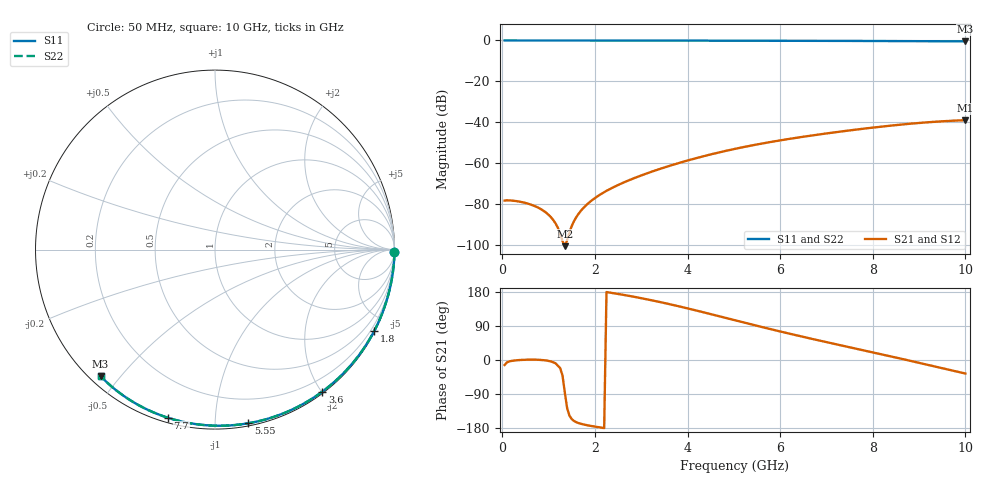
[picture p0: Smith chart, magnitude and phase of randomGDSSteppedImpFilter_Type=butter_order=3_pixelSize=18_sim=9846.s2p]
! freq	dB(S11)	phase(S11)	dB(S12)	phase(S12)
!  dB(S21)	phase(S21)	dB(S22)	phase(S22)
!S-par simulation data
#  GHz  S  DB  R 50
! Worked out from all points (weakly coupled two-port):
!   200 points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, 50 MHz to 10 GHz, reference 50 ohm
!   highest |S21| = -39.06 dB at 10 GHz (marker M1); lowest = -100.8 dB at 1.35 GHz (marker M2)
!   lowest |S11| = -0.4 dB at 10 GHz (marker M3), VSWR 39.48, Z = 1.52 - j22.2 ohm
!   |S11| at or under -10 dB: nowhere
!   |S22| runs from -0.4 to 0.0 dB; largest |S21 - S12| = 0
!   S11 on the Smith chart (normalised r, x): 50 MHz: open; 1.8 GHz: 0.04, -4.15; 3.6 GHz: 0.02, -2.01; 5.55 GHz: 0.02, -1.21; 7.7 GHz: 0.02, -0.76; 10 GHz: 0.03, -0.44
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0.05  -0.00 -0.8  -78.46 -13.3  -78.46 -13.3  -0.00 -0.8
0.1  -0.00 -1.5  -78.31 -6.3  -78.31 -6.3  -0.00 -1.5
0.25  -0.00 -3.8  -78.54 -1.5  -78.54 -1.5  -0.00 -3.8
0.6  -0.01 -9.1  -80.28 0.9  -80.28 0.9  -0.01 -9.1
1.35  -0.03 -20.4  -100.79 -85.5  -100.79 -85.5  -0.03 -20.4
1.75  -0.03 -26.3  -82.09 -170.0  -82.09 -170.0  -0.03 -26.3
1.8  -0.03 -27.1  -80.94 -171.3  -80.94 -171.3  -0.03 -27.1
1.85  -0.04 -27.8  -79.90 -172.6  -79.90 -172.6  -0.04 -27.8
1.95  -0.04 -29.3  -78.05 -174.7  -78.05 -174.7  -0.04 -29.3
2.1  -0.04 -31.5  -75.70 -177.7  -75.70 -177.7  -0.04 -31.5
2.45  -0.05 -36.6  -71.35 175.3  -71.35 175.3  -0.05 -36.6
2.85  -0.06 -42.4  -67.43 166.7  -67.43 166.7  -0.06 -42.4
3.4  -0.07 -50.2  -62.96 153.1  -62.96 153.1  -0.07 -50.2
3.6  -0.07 -52.9  -61.51 147.7  -61.51 147.7  -0.07 -52.9
4.3  -0.09 -62.6  -56.99 127.3  -56.99 127.3  -0.09 -62.6
5.05  -0.11 -72.6  -52.98 104.1  -52.98 104.1  -0.11 -72.6
5.55  -0.13 -79.1  -50.74 88.7  -50.74 88.7  -0.13 -79.1
6.7  -0.18 -93.5  -46.50 55.4  -46.50 55.4  -0.18 -93.5
7.7  -0.24 -105.6  -43.50 28.3  -43.50 28.3  -0.24 -105.6
8.35  -0.28 -113.2  -41.82 10.6  -41.82 10.6  -0.28 -113.2
9.2  -0.36 -123.0  -40.06 -13.2  -40.06 -13.2  -0.36 -123.0
10  -0.44 -132.1  -39.06 -35.7  -39.06 -35.7  -0.44 -132.1
